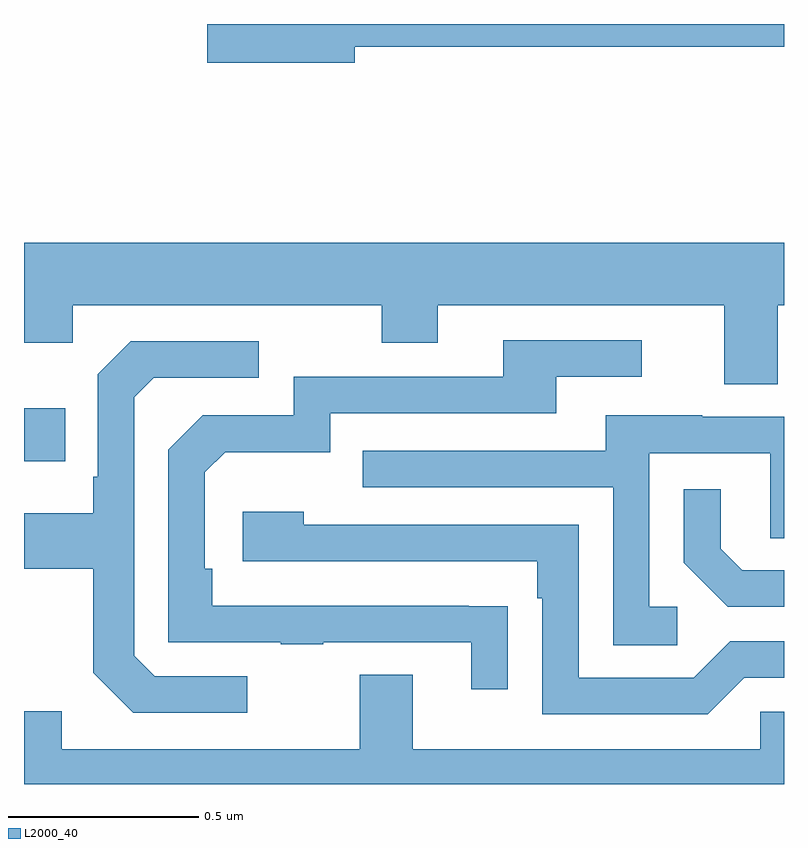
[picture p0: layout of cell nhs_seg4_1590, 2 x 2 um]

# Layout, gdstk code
import gdstk
lib = gdstk.Library(unit=1e-6, precision=1e-09)
def R(c, l, rs):  # rectangles x0, y0, x1, y1
    for r in rs: c.add(gdstk.rectangle(r[:2], r[2:], *l))
def P(c, l, *ps):  # polygons
    for p in ps: c.add(gdstk.Polygon(p, *l))
L2000_40 = (2000, 40)

nhs_seg4_1590 = lib.new_cell('nhs_seg4_1590')
R(nhs_seg4_1590, L2000_40, [(130,789.749,130.109,789.889)])
P(nhs_seg4_1590, L2000_40, [(130.87,790.84),(132,790.84),(132,790.9),(130.482,790.9),(130.482,790.798),(130.87,790.798)],
  [(131.983,790.16),(132,790.16),(132,790.324),(130,790.324),(130,790.061),(130.128,790.061),(130.128,790.16),(130.942,790.16),(130.942,790.061),(131.089,790.061),(131.089,790.16),(131.843,790.16),(131.843,789.952),(131.983,789.952)],
  [(131.273,789.368),(131.171,789.368),(131.171,789.369),(130.496,789.369),(130.496,789.466),(130.476,789.466),(130.476,789.72),(130.529,789.773),(130.806,789.773),(130.806,789.876),(131.401,789.876),(131.401,789.972),(131.626,789.972),(131.626,790.068),(131.261,790.068),(131.261,789.972),(130.71,789.972),(130.71,789.87),(130.47,789.87),(130.38,789.78),(130.38,789.273),(130.675,789.273),(130.675,789.268),(130.787,789.268),(130.787,789.273),(131.177,789.273),(131.177,789.15),(131.273,789.15)],
  [(130.588,789.183),(130.344,789.183),(130.29,789.237),(130.29,789.918),(130.341,789.969),(130.618,789.969),(130.618,790.065),(130.281,790.065),(130.194,789.978),(130.194,789.709),(130.182,789.709),(130.182,789.613),(130,789.613),(130,789.466),(130.182,789.466),(130.182,789.193),(130.287,789.087),(130.588,789.087)],
  [(131.719,789.366),(131.646,789.366),(131.646,789.771),(131.964,789.771),(131.964,789.547),(132,789.547),(132,789.867),(131.785,789.867),(131.785,789.871),(131.531,789.871),(131.531,789.777),(130.891,789.777),(130.891,789.681),(131.55,789.681),(131.55,789.265),(131.719,789.265)],
  [(132,789.462),(131.89,789.462),(131.833,789.519),(131.833,789.676),(131.736,789.676),(131.736,789.482),(131.852,789.366),(132,789.366)],
  [(131.895,789.18),(132,789.18),(132,789.276),(131.859,789.276),(131.763,789.18),(131.46,789.18),(131.46,789.582),(130.736,789.582),(130.736,789.616),(130.575,789.616),(130.575,789.486),(131.351,789.486),(131.351,789.389),(131.364,789.389),(131.364,789.084),(131.799,789.084)],
  [(132,789.09),(131.937,789.09),(131.937,788.992),(131.023,788.992),(131.023,789.187),(130.883,789.187),(130.883,788.992),(130.099,788.992),(130.099,789.091),(130,789.091),(130,788.9),(132,788.9)])

lib.write_gds('nhs_seg4_1590.gds')
